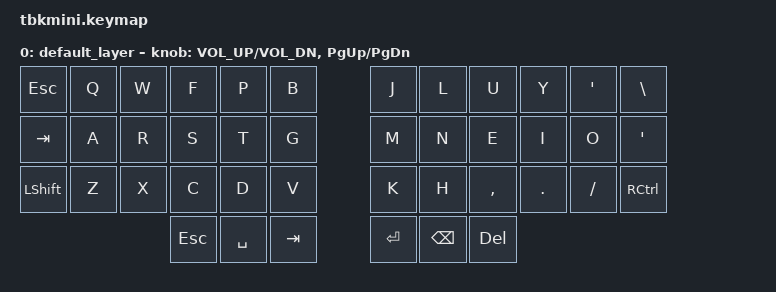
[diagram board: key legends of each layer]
/*
 * Copyright (c) 2021 Casey Webster
 *
 * SPDX-License-Identifier: MIT
 */

#include <behaviors.dtsi>
#include <dt-bindings/zmk/keys.h>

/ {
	keymap {
		compatible = "zmk,keymap";

		default_layer {
// ---------------------------------------------------------------------------------------------------------------------------------
// |  ESC  |  Q  |  W  |  F   |  P   |  B   |    |  J   |  L   |  U  |  Y  |  '  |   \  |
// |  TAB  |  A  |  R  |  S   |  T   |  G   |    |  M   |  N   |  E  |  I  |  O  |   '  |
// | SHIFT |  Z  |  X  |  C   |  D   |  V   |    |  K   |  H   |  ,  |  .  |  /  | CTRL |
//                     | ESC  | SPC  | TAB  |    | RET  | BSPC | DEL |
			bindings = <
	&kp ESC   &kp Q &kp W &kp F &kp P &kp B          &kp J &kp L  &kp U     &kp Y   &kp SQT  &kp BSLH
	&kp TAB   &kp A &kp R &kp S &kp T &kp G          &kp M &kp N  &kp E     &kp I   &kp O    &kp SQT
	&kp LSHFT &kp Z &kp X &kp C &kp D &kp V          &kp K &kp H  &kp COMMA &kp DOT &kp FSLH &kp RCTRL
	                &kp ESC  &kp SPC &kp TAB         &kp RET &kp BSPC &kp DEL
			>;

			sensor-bindings = <&inc_dec_kp C_VOL_UP C_VOL_DN &inc_dec_kp PG_UP PG_DN>;
		};
	};
};
